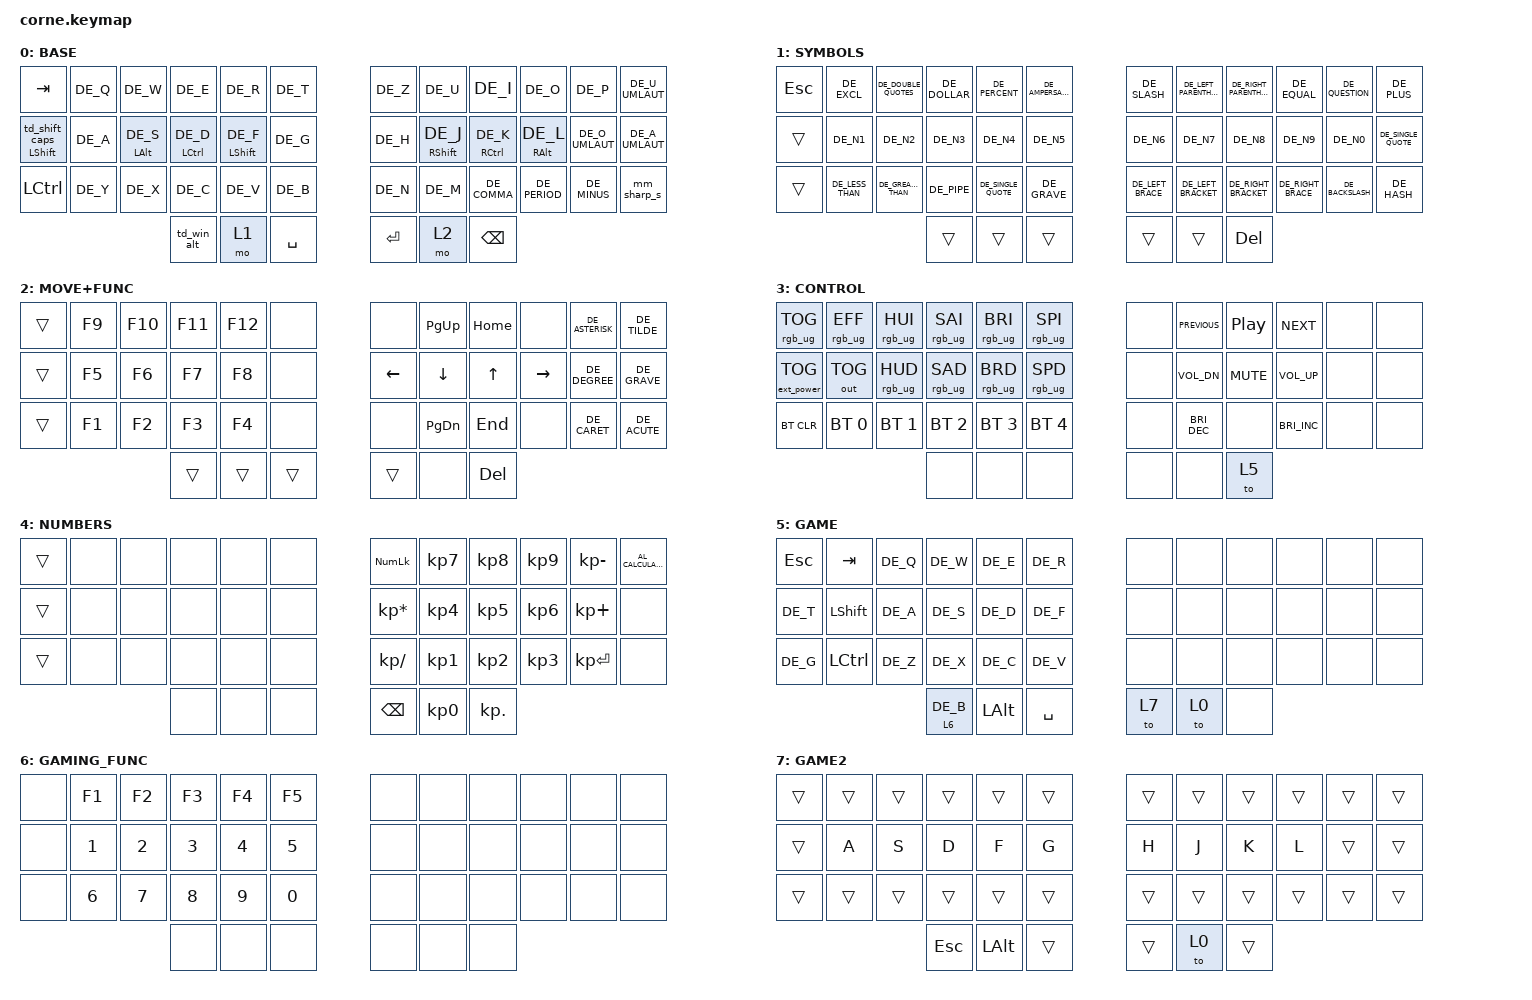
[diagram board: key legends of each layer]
#include "keys_de.h"
#include <behaviors.dtsi>
#include <dt-bindings/zmk/bt.h>
#include <dt-bindings/zmk/ext_power.h>
#include <dt-bindings/zmk/keys.h>
#include <dt-bindings/zmk/outputs.h>
#include <dt-bindings/zmk/rgb.h>

&led_strip { chain-length = <27>; };

/ {
    behaviors {
        td_shift_caps: td_shift_caps {
            compatible = "zmk,behavior-tap-dance";
            label = "TD_SHIFT_CAPS";
            #binding-cells = <0>;
            bindings = <&none>, <&cw_german>;

            tapping-term-ms = <280>;
        };

        mm_sharp_s: mm_sharp_s {
            compatible = "zmk,behavior-mod-morph";
            label = "MM_SHARP_S";
            bindings = <&kp DE_SHARP_S>, <&kp DE_CAPITAL_SHARP_S>;

            #binding-cells = <0>;
            mods = <(MOD_LSFT)>;
        };

        hml: homerow_mods_left {
            compatible = "zmk,behavior-hold-tap";
            label = "HOMEROW_MODS_LEFT_HAND";
            bindings = <&kp>, <&kp>;

            #binding-cells = <2>;
            tapping-term-ms = <280>;
            hold-trigger-key-positions = <6 7 8 9 10 11 18 19 20 21 22 23 30 31 32 33 34 35 39 40 41 0>;
            quick-tap-ms = <210>;
            flavor = "balanced";
            hold-trigger-on-release;
        };

        hmr: homerow_mods_right {
            compatible = "zmk,behavior-hold-tap";
            label = "HOMEROW_MODS_RIGHT_HAND";
            bindings = <&kp>, <&kp>;

            #binding-cells = <2>;
            tapping-term-ms = <280>;
            hold-trigger-key-positions = <0 1 2 3 4 5 12 13 14 15 16 17 24 25 26 27 28 29 36 37 38>;
            quick-tap-ms = <210>;
            flavor = "balanced";
            hold-trigger-on-release;
        };

        td_win_alt: td_win_alt {
            compatible = "zmk,behavior-tap-dance";
            label = "TD_WIN_ALT";
            #binding-cells = <0>;
            bindings = <&kp LGUI>, <&kp LALT>;

            tapping-term-ms = <280>;
        };

        cw_german: cw_german {
            compatible = "zmk,behavior-caps-word";
            label = "CW_GERMAN";
            #binding-cells = <0>;
            mods = <(MOD_LSFT)>;
            continue-list = <DE_U_UMLAUT DE_A_UMLAUT DE_O_UMLAUT DE_MINUS BACKSPACE DELETE UNDERSCORE>;
        };

        ht_shift_capsword: ht_shift_capsword {
            compatible = "zmk,behavior-hold-tap";
            label = "HT_SHIFT_CAPSWORD";
            bindings = <&kp>, <&td_shift_caps>;

            #binding-cells = <2>;
            tapping-term-ms = <280>;
            hold-while-undecided;
        };

        ht_layer_tap_b: ht_layer_tap_b {
            compatible = "zmk,behavior-hold-tap";
            label = "HT_LAYER_TAP_B";
            bindings = <&mo>, <&human_tap>;

            #binding-cells = <2>;
            tapping-term-ms = <250>;
            flavor = "tap-preferred";
            retro-tap;
        };
    };

    combos {
        compatible = "zmk,combos";

        mo_numpad {
            bindings = <&mo 4>;
            key-positions = <37 38>;
            layers = <0>;
        };

        alt+ctrl {
            bindings = <&kp LA(LCTRL)>;
            key-positions = <36 37>;
        };
    };

    macros {
        human_tap: human_tap {
            compatible = "zmk,behavior-macro";
            #binding-cells = <0>;
            bindings = <&kp DE_B>;
            label = "HUMAN_TAP";
            tap-ms = <75>;
        };
    };

    keymap {
        compatible = "zmk,keymap";

        base {
            bindings = <
&kp TAB                          &kp DE_Q  &kp DE_W            &kp DE_E                &kp DE_R              &kp DE_T     &kp DE_Z   &kp DE_U               &kp DE_I                 &kp DE_O             &kp DE_P         &kp DE_U_UMLAUT
&ht_shift_capsword LEFT_SHIFT 0  &kp DE_A  &hml LEFT_ALT DE_S  &hml LEFT_CONTROL DE_D  &hml LEFT_SHIFT DE_F  &kp DE_G     &kp DE_H   &hmr RIGHT_SHIFT DE_J  &hmr RIGHT_CONTROL DE_K  &hmr RIGHT_ALT DE_L  &kp DE_O_UMLAUT  &kp DE_A_UMLAUT
&kp LEFT_CONTROL                 &kp DE_Y  &kp DE_X            &kp DE_C                &kp DE_V              &kp DE_B     &kp DE_N   &kp DE_M               &kp DE_COMMA             &kp DE_PERIOD        &kp DE_MINUS     &mm_sharp_s
                                                               &td_win_alt             &mo 1                 &kp SPACE    &kp ENTER  &mo 2                  &kp BACKSPACE
            >;

            label = "BASE";
        };

        symbols {
            bindings = <
&kp ESCAPE  &kp DE_EXCL       &kp DE_DOUBLE_QUOTES  &kp DE_DOLLAR  &kp DE_PERCENT       &kp DE_AMPERSAND    &kp DE_SLASH       &kp DE_LEFT_PARENTHESIS  &kp DE_RIGHT_PARENTHESIS  &kp DE_EQUAL        &kp DE_QUESTION   &kp DE_PLUS
&trans      &kp DE_N1         &kp DE_N2             &kp DE_N3      &kp DE_N4            &kp DE_N5           &kp DE_N6          &kp DE_N7                &kp DE_N8                 &kp DE_N9           &kp DE_N0         &kp DE_SINGLE_QUOTE
&trans      &kp DE_LESS_THAN  &kp DE_GREATER_THAN   &kp DE_PIPE    &kp DE_SINGLE_QUOTE  &kp DE_GRAVE        &kp DE_LEFT_BRACE  &kp DE_LEFT_BRACKET      &kp DE_RIGHT_BRACKET      &kp DE_RIGHT_BRACE  &kp DE_BACKSLASH  &kp DE_HASH
                                                    &trans         &trans               &trans              &trans             &trans                   &kp DELETE
            >;

            label = "SYMBOLS";
        };

        move+func {
            bindings = <
&trans  &kp F9  &kp F10  &kp F11  &kp F12  &none     &none     &kp PAGE_UP     &kp HOME      &none      &kp DE_ASTERISK  &kp DE_TILDE
&trans  &kp F5  &kp F6   &kp F7   &kp F8   &none     &kp LEFT  &kp DOWN_ARROW  &kp UP_ARROW  &kp RIGHT  &kp DE_DEGREE    &kp DE_GRAVE
&trans  &kp F1  &kp F2   &kp F3   &kp F4   &none     &none     &kp PAGE_DOWN   &kp END       &none      &kp DE_CARET     &kp DE_ACUTE
                         &trans   &trans   &trans    &trans    &none           &kp DEL
            >;

            label = "MOVE+FUNC";
        };

        control {
            bindings = <
&rgb_ug RGB_TOG    &rgb_ug RGB_EFF  &rgb_ug RGB_HUI  &rgb_ug RGB_SAI  &rgb_ug RGB_BRI  &rgb_ug RGB_SPI    &none  &kp C_PREVIOUS        &kp C_PLAY_PAUSE  &kp C_NEXT            &none  &none
&ext_power EP_TOG  &out OUT_TOG     &rgb_ug RGB_HUD  &rgb_ug RGB_SAD  &rgb_ug RGB_BRD  &rgb_ug RGB_SPD    &none  &kp C_VOL_DN          &kp C_MUTE        &kp C_VOL_UP          &none  &none
&bt BT_CLR         &bt BT_SEL 0     &bt BT_SEL 1     &bt BT_SEL 2     &bt BT_SEL 3     &bt BT_SEL 4       &none  &kp C_BRIGHTNESS_DEC  &none             &kp C_BRIGHTNESS_INC  &none  &none
                                                     &none            &none            &none              &none  &none                 &to 5
            >;

            label = "CONTROL";
        };

        num {
            bindings = <
&trans  &none  &none  &none  &none  &none    &kp KP_NUM       &kp KP_NUMBER_7  &kp KP_NUMBER_8  &kp KP_NUMBER_9  &kp KP_MINUS  &kp C_AL_CALCULATOR
&trans  &none  &none  &none  &none  &none    &kp KP_MULTIPLY  &kp KP_NUMBER_4  &kp KP_NUMBER_5  &kp KP_NUMBER_6  &kp KP_PLUS   &none
&trans  &none  &none  &none  &none  &none    &kp KP_DIVIDE    &kp KP_N1        &kp KP_N2        &kp KP_NUMBER_3  &kp KP_ENTER  &none
                      &none  &none  &none    &kp BACKSPACE    &kp KP_N0        &kp KP_DOT
            >;

            label = "NUMBERS";
        };

        gaming {
            bindings = <
&kp ESC   &kp TAB    &kp DE_Q  &kp DE_W                &kp DE_E  &kp DE_R     &none  &none  &none  &none  &none  &none
&kp DE_T  &kp LSHFT  &kp DE_A  &kp DE_S                &kp DE_D  &kp DE_F     &none  &none  &none  &none  &none  &none
&kp DE_G  &kp LCTRL  &kp DE_Z  &kp DE_X                &kp DE_C  &kp DE_V     &none  &none  &none  &none  &none  &none
                               &ht_layer_tap_b 6 DE_B  &kp LALT  &kp SPACE    &to 7  &to 0  &none
            >;

            label = "GAME";
        };

        gaming_func {
            bindings = <
&none  &kp F1  &kp F2  &kp F3  &kp F4  &kp F5    &none  &none  &none  &none  &none  &none
&none  &kp N1  &kp N2  &kp N3  &kp N4  &kp N5    &none  &none  &none  &none  &none  &none
&none  &kp N6  &kp N7  &kp N8  &kp N9  &kp N0    &none  &none  &none  &none  &none  &none
                       &none   &none   &none     &none  &none  &none
            >;

            label = "GAMING_FUNC";
        };

        game2 {
            bindings = <
&trans  &trans  &trans  &trans   &trans    &trans    &trans  &trans  &trans  &trans  &trans  &trans
&trans  &kp A   &kp S   &kp D    &kp F     &kp G     &kp H   &kp J   &kp K   &kp L   &trans  &trans
&trans  &trans  &trans  &trans   &trans    &trans    &trans  &trans  &trans  &trans  &trans  &trans
                        &kp ESC  &kp LALT  &trans    &trans  &to 0   &trans
            >;

            label = "GAME2";
        };
    };

    conditional_layers {
        compatible = "zmk,conditional-layers";

        control {
            if-layers = <1 2>;
            then-layer = <3>;
        };
    };
};
